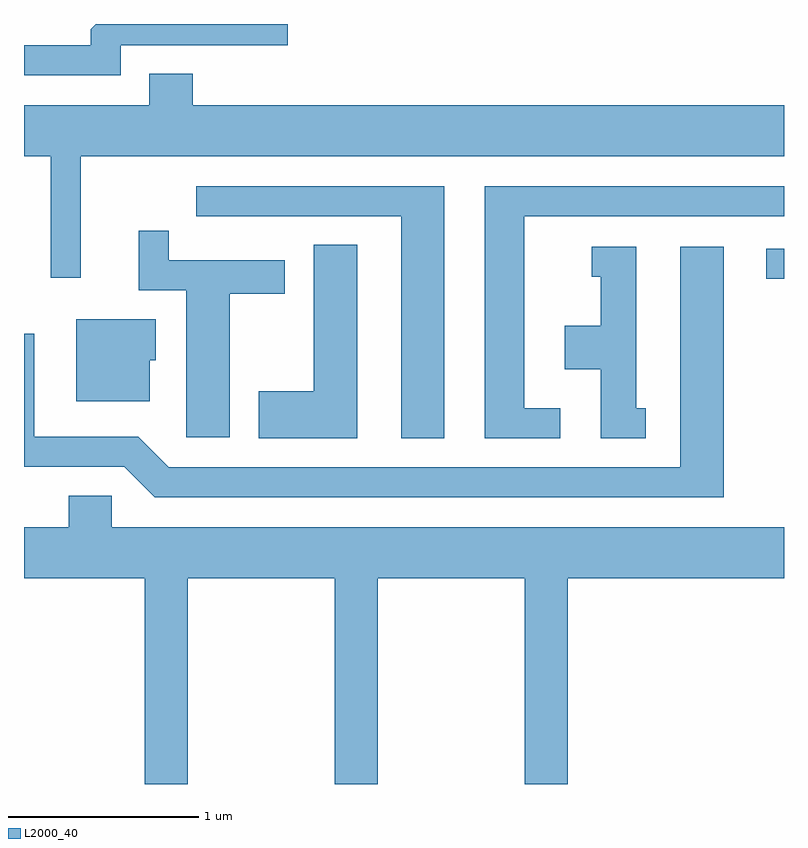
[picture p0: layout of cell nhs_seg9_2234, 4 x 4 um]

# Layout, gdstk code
import gdstk
lib = gdstk.Library(unit=1e-6, precision=1e-09)
def R(c, l, rs):  # rectangles x0, y0, x1, y1
    for r in rs: c.add(gdstk.rectangle(r[:2], r[2:], *l))
def P(c, l, *ps):  # polygons
    for p in ps: c.add(gdstk.Polygon(p, *l))
L2000_40 = (2000, 40)

nhs_seg9_2234 = lib.new_cell('nhs_seg9_2234')
R(nhs_seg9_2234, L2000_40, [(253.518,2071.091,253.611,2071.249)])
P(nhs_seg9_2234, L2000_40, [(250.119,2072.321),(250.998,2072.321),(250.998,2072.432),(249.989,2072.432),(249.961,2072.404),(249.961,2072.319),(249.611,2072.319),(249.611,2072.161),(250.119,2072.161)],
  [(249.909,2071.736),(253.611,2071.736),(253.611,2072.004),(250.499,2072.004),(250.499,2072.169),(250.271,2072.169),(250.271,2072.004),(249.611,2072.004),(249.611,2071.736),(249.751,2071.736),(249.751,2071.097),(249.909,2071.097)],
  [(251.824,2071.579),(250.518,2071.579),(250.518,2071.421),(251.596,2071.421),(251.596,2070.251),(251.824,2070.251)],
  [(252.433,2070.409),(252.244,2070.409),(252.244,2071.421),(253.611,2071.421),(253.611,2071.579),(252.036,2071.579),(252.036,2070.251),(252.433,2070.251)],
  [(250.694,2071.011),(250.984,2071.011),(250.984,2071.189),(250.374,2071.189),(250.374,2071.343),(250.216,2071.343),(250.216,2071.031),(250.466,2071.031),(250.466,2070.256),(250.694,2070.256)],
  [(251.364,2071.269),(251.136,2071.269),(251.136,2070.499),(250.846,2070.499),(250.846,2070.251),(251.364,2070.251)],
  [(252.883,2070.409),(252.834,2070.409),(252.834,2071.259),(252.598,2071.259),(252.598,2071.101),(252.646,2071.101),(252.646,2070.844),(252.456,2070.844),(252.456,2070.616),(252.646,2070.616),(252.646,2070.251),(252.883,2070.251)],
  [(253.294,2071.259),(253.066,2071.259),(253.066,2070.099),(250.372,2070.099),(250.212,2070.259),(249.664,2070.259),(249.664,2070.803),(249.611,2070.803),(249.611,2070.101),(250.139,2070.101),(250.299,2069.941),(253.294,2069.941)],
  [(250.274,2070.661),(250.304,2070.661),(250.304,2070.879),(249.886,2070.879),(249.886,2070.446),(250.274,2070.446)],
  [(250.474,2069.516),(251.246,2069.516),(251.246,2068.432),(251.474,2068.432),(251.474,2069.516),(252.246,2069.516),(252.246,2068.432),(252.474,2068.432),(252.474,2069.516),(253.611,2069.516),(253.611,2069.784),(250.074,2069.784),(250.074,2069.949),(249.846,2069.949),(249.846,2069.784),(249.611,2069.784),(249.611,2069.516),(250.246,2069.516),(250.246,2068.432),(250.474,2068.432)])

lib.write_gds('nhs_seg9_2234.gds')
